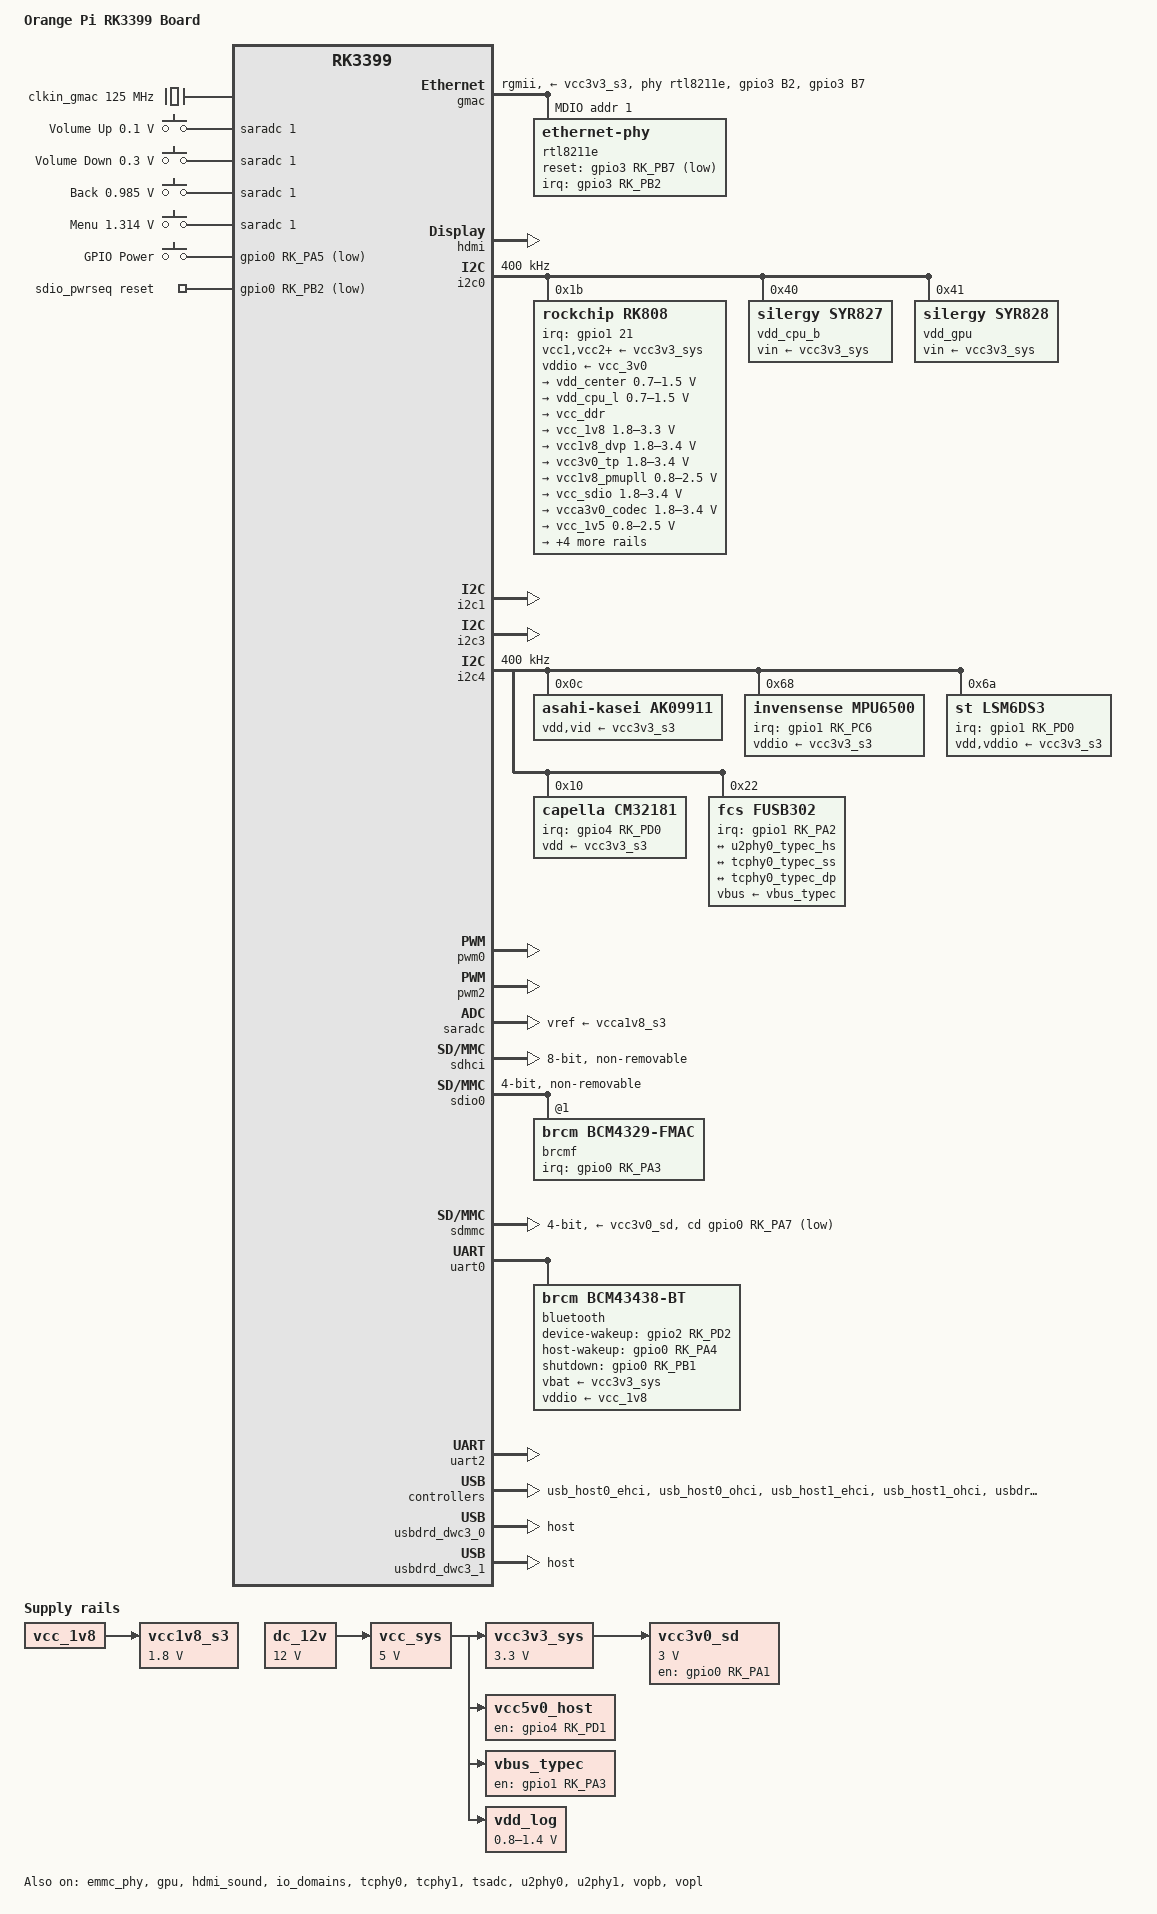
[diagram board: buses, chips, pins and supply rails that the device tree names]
// SPDX-License-Identifier: (GPL-2.0+ OR MIT)
/*
 * Copyright (c) 2017 Fuzhou Rockchip Electronics Co., Ltd.
 */

/dts-v1/;

#include "dt-bindings/pwm/pwm.h"
#include "dt-bindings/input/input.h"
#include "dt-bindings/usb/pd.h"
#include "rk3399.dtsi"
#include "rk3399-opp.dtsi"

/ {
	model = "Orange Pi RK3399 Board";
	compatible = "rockchip,rk3399-orangepi", "rockchip,rk3399";

	aliases {
		mmc0 = &sdio0;
		mmc1 = &sdmmc;
		mmc2 = &sdhci;
	};

	chosen {
		stdout-path = "serial2:1500000n8";
	};

	clkin_gmac: external-gmac-clock {
		compatible = "fixed-clock";
		clock-frequency = <125000000>;
		clock-output-names = "clkin_gmac";
		#clock-cells = <0>;
	};

	adc-keys {
		compatible = "adc-keys";
		io-channels = <&saradc 1>;
		io-channel-names = "buttons";
		keyup-threshold-microvolt = <1800000>;
		poll-interval = <100>;

		button-up {
			label = "Volume Up";
			linux,code = <KEY_VOLUMEUP>;
			press-threshold-microvolt = <100000>;
		};

		button-down {
			label = "Volume Down";
			linux,code = <KEY_VOLUMEDOWN>;
			press-threshold-microvolt = <300000>;
		};

		back {
			label = "Back";
			linux,code = <KEY_BACK>;
			press-threshold-microvolt = <985000>;
		};

		menu {
			label = "Menu";
			linux,code = <KEY_MENU>;
			press-threshold-microvolt = <1314000>;
		};
	};

	dc_12v: dc-12v {
		compatible = "regulator-fixed";
		regulator-name = "dc_12v";
		regulator-always-on;
		regulator-boot-on;
		regulator-min-microvolt = <12000000>;
		regulator-max-microvolt = <12000000>;
	};

	keys: gpio-keys {
		compatible = "gpio-keys";
		autorepeat;

		power {
			debounce-interval = <100>;
			gpios = <&gpio0 RK_PA5 GPIO_ACTIVE_LOW>;
			label = "GPIO Power";
			linux,code = <KEY_POWER>;
			linux,input-type = <1>;
			pinctrl-names = "default";
			pinctrl-0 = <&pwr_btn>;
			wakeup-source;
		};
	};

	sdio_pwrseq: sdio-pwrseq {
		compatible = "mmc-pwrseq-simple";
		clocks = <&rk808 1>;
		clock-names = "ext_clock";
		pinctrl-names = "default";
		pinctrl-0 = <&wifi_reg_on_h>;
		reset-gpios = <&gpio0 RK_PB2 GPIO_ACTIVE_LOW>;
	};

	/* switched by pmic_sleep */
	vcc1v8_s3: vcca1v8_s3: vcc1v8-s3 {
		compatible = "regulator-fixed";
		regulator-name = "vcc1v8_s3";
		regulator-always-on;
		regulator-boot-on;
		regulator-min-microvolt = <1800000>;
		regulator-max-microvolt = <1800000>;
		vin-supply = <&vcc_1v8>;
	};

	vcc3v0_sd: vcc3v0-sd {
		compatible = "regulator-fixed";
		enable-active-high;
		gpio = <&gpio0 RK_PA1 GPIO_ACTIVE_HIGH>;
		pinctrl-names = "default";
		pinctrl-0 = <&sdmmc0_pwr_h>;
		regulator-boot-on;
		regulator-max-microvolt = <3000000>;
		regulator-min-microvolt = <3000000>;
		regulator-name = "vcc3v0_sd";
		vin-supply = <&vcc3v3_sys>;
	};

	vcc3v3_sys: vcc3v3-sys {
		compatible = "regulator-fixed";
		regulator-name = "vcc3v3_sys";
		regulator-always-on;
		regulator-boot-on;
		regulator-min-microvolt = <3300000>;
		regulator-max-microvolt = <3300000>;
		vin-supply = <&vcc_sys>;
	};

	vcc5v0_host: vcc5v0-host-regulator {
		compatible = "regulator-fixed";
		enable-active-high;
		gpio = <&gpio4 RK_PD1 GPIO_ACTIVE_HIGH>;
		pinctrl-names = "default";
		pinctrl-0 = <&vcc5v0_host_en>;
		regulator-name = "vcc5v0_host";
		regulator-always-on;
		vin-supply = <&vcc_sys>;
	};

	vbus_typec: vbus-typec-regulator {
		compatible = "regulator-fixed";
		enable-active-high;
		gpio = <&gpio1 RK_PA3 GPIO_ACTIVE_HIGH>;
		pinctrl-names = "default";
		pinctrl-0 = <&vcc5v0_typec_en>;
		regulator-name = "vbus_typec";
		vin-supply = <&vcc_sys>;
	};

	vcc_sys: vcc-sys {
		compatible = "regulator-fixed";
		regulator-name = "vcc_sys";
		regulator-always-on;
		regulator-boot-on;
		regulator-min-microvolt = <5000000>;
		regulator-max-microvolt = <5000000>;
		vin-supply = <&dc_12v>;
	};

	vdd_log: vdd-log {
		compatible = "pwm-regulator";
		pwms = <&pwm2 0 25000 1>;
		regulator-name = "vdd_log";
		regulator-always-on;
		regulator-boot-on;
		regulator-min-microvolt = <800000>;
		regulator-max-microvolt = <1400000>;
		vin-supply = <&vcc_sys>;
	};
};

&cpu_l0 {
	cpu-supply = <&vdd_cpu_l>;
};

&cpu_l1 {
	cpu-supply = <&vdd_cpu_l>;
};

&cpu_l2 {
	cpu-supply = <&vdd_cpu_l>;
};

&cpu_l3 {
	cpu-supply = <&vdd_cpu_l>;
};

&cpu_b0 {
	cpu-supply = <&vdd_cpu_b>;
};

&cpu_b1 {
	cpu-supply = <&vdd_cpu_b>;
};

&emmc_phy {
	status = "okay";
};

&gmac {
	assigned-clocks = <&cru SCLK_RMII_SRC>;
	assigned-clock-parents = <&clkin_gmac>;
	clock_in_out = "input";
	phy-supply = <&vcc3v3_s3>;
	phy-mode = "rgmii";
	phy-handle = <&rtl8211e>;
	pinctrl-names = "default";
	pinctrl-0 = <&rgmii_pins>, <&phy_intb>, <&phy_rstb>;
	tx_delay = <0x28>;
	rx_delay = <0x11>;
	status = "okay";

	mdio {
		compatible = "snps,dwmac-mdio";
		#address-cells = <1>;
		#size-cells = <0>;

		rtl8211e: ethernet-phy@1 {
			reg = <1>;
			interrupt-parent = <&gpio3>;
			interrupts = <RK_PB2 IRQ_TYPE_LEVEL_LOW>;
			reset-assert-us = <10000>;
			reset-deassert-us = <30000>;
			reset-gpios = <&gpio3 RK_PB7 GPIO_ACTIVE_LOW>;
		};
	};
};

&gpu {
	mali-supply = <&vdd_gpu>;
	status = "okay";
};

&hdmi {
	ddc-i2c-bus = <&i2c3>;
	status = "okay";
};

&hdmi_sound {
	status = "okay";
};

&i2c0 {
	clock-frequency = <400000>;
	i2c-scl-rising-time-ns = <168>;
	i2c-scl-falling-time-ns = <4>;
	status = "okay";

	rk808: pmic@1b {
		compatible = "rockchip,rk808";
		reg = <0x1b>;
		interrupt-parent = <&gpio1>;
		interrupts = <21 IRQ_TYPE_LEVEL_LOW>;
		#clock-cells = <1>;
		clock-output-names = "rtc_clko_soc", "rtc_clko_wifi";
		pinctrl-names = "default";
		pinctrl-0 = <&pmic_int_l>;
		rockchip,system-power-controller;
		wakeup-source;

		vcc1-supply = <&vcc3v3_sys>;
		vcc2-supply = <&vcc3v3_sys>;
		vcc3-supply = <&vcc3v3_sys>;
		vcc4-supply = <&vcc3v3_sys>;
		vcc6-supply = <&vcc3v3_sys>;
		vcc7-supply = <&vcc3v3_sys>;
		vcc8-supply = <&vcc3v3_sys>;
		vcc9-supply = <&vcc3v3_sys>;
		vcc10-supply = <&vcc3v3_sys>;
		vcc11-supply = <&vcc3v3_sys>;
		vcc12-supply = <&vcc3v3_sys>;
		vddio-supply = <&vcc_3v0>;

		regulators {
			vdd_center: DCDC_REG1 {
				regulator-name = "vdd_center";
				regulator-always-on;
				regulator-boot-on;
				regulator-min-microvolt = <700000>;
				regulator-max-microvolt = <1500000>;
				regulator-ramp-delay = <6001>;
				regulator-state-mem {
					regulator-off-in-suspend;
				};
			};

			vdd_cpu_l: DCDC_REG2 {
				regulator-name = "vdd_cpu_l";
				regulator-always-on;
				regulator-boot-on;
				regulator-min-microvolt = <700000>;
				regulator-max-microvolt = <1500000>;
				regulator-ramp-delay = <6001>;
				regulator-state-mem {
					regulator-off-in-suspend;
				};
			};

			vcc_ddr: DCDC_REG3 {
				regulator-name = "vcc_ddr";
				regulator-always-on;
				regulator-boot-on;
				regulator-state-mem {
					regulator-on-in-suspend;
				};
			};

			vcc_1v8: DCDC_REG4 {
				regulator-name = "vcc_1v8";
				regulator-always-on;
				regulator-boot-on;
				regulator-min-microvolt = <1800000>;
				regulator-max-microvolt = <3300000>;
				regulator-state-mem {
					regulator-on-in-suspend;
					regulator-suspend-microvolt = <1800000>;
				};
			};

			vcc1v8_dvp: LDO_REG1 {
				regulator-name = "vcc1v8_dvp";
				regulator-always-on;
				regulator-boot-on;
				regulator-min-microvolt = <1800000>;
				regulator-max-microvolt = <3400000>;
				regulator-state-mem {
					regulator-off-in-suspend;
				};
			};

			vcc3v0_tp: LDO_REG2 {
				regulator-name = "vcc3v0_tp";
				regulator-always-on;
				regulator-boot-on;
				regulator-min-microvolt = <1800000>;
				regulator-max-microvolt = <3400000>;
				regulator-state-mem {
					regulator-off-in-suspend;
				};
			};

			vcc1v8_pmupll: LDO_REG3 {
				regulator-name = "vcc1v8_pmupll";
				regulator-always-on;
				regulator-boot-on;
				regulator-min-microvolt = <800000>;
				regulator-max-microvolt = <2500000>;
				regulator-state-mem {
					regulator-on-in-suspend;
					regulator-suspend-microvolt = <1800000>;
				};
			};

			vcc_sdio: LDO_REG4 {
				regulator-name = "vcc_sdio";
				regulator-always-on;
				regulator-boot-on;
				regulator-min-microvolt = <1800000>;
				regulator-max-microvolt = <3400000>;
				regulator-state-mem {
					regulator-on-in-suspend;
					regulator-suspend-microvolt = <3000000>;
				};
			};

			vcca3v0_codec: LDO_REG5 {
				regulator-name = "vcca3v0_codec";
				regulator-always-on;
				regulator-boot-on;
				regulator-min-microvolt = <1800000>;
				regulator-max-microvolt = <3400000>;
				regulator-state-mem {
					regulator-off-in-suspend;
				};
			};

			vcc_1v5: LDO_REG6 {
				regulator-name = "vcc_1v5";
				regulator-always-on;
				regulator-boot-on;
				regulator-min-microvolt = <800000>;
				regulator-max-microvolt = <2500000>;
				regulator-state-mem {
					regulator-on-in-suspend;
					regulator-suspend-microvolt = <1500000>;
				};
			};

			vcca1v8_codec: LDO_REG7 {
				regulator-name = "vcca1v8_codec";
				regulator-always-on;
				regulator-boot-on;
				regulator-min-microvolt = <800000>;
				regulator-max-microvolt = <2500000>;
				regulator-state-mem {
					regulator-off-in-suspend;
				};
			};

			vcc_3v0: LDO_REG8 {
				regulator-name = "vcc_3v0";
				regulator-always-on;
				regulator-boot-on;
				regulator-min-microvolt = <1800000>;
				regulator-max-microvolt = <3400000>;
				regulator-state-mem {
					regulator-on-in-suspend;
					regulator-suspend-microvolt = <3000000>;
				};
			};

			vcc3v3_s3: SWITCH_REG1 {
				regulator-name = "vcc3v3_s3";
				regulator-always-on;
				regulator-boot-on;
				regulator-state-mem {
					regulator-off-in-suspend;
				};
			};

			vcc3v3_s0: SWITCH_REG2 {
				regulator-name = "vcc3v3_s0";
				regulator-always-on;
				regulator-boot-on;
				regulator-state-mem {
					regulator-off-in-suspend;
				};
			};
		};
	};

	vdd_cpu_b: regulator@40 {
		compatible = "silergy,syr827";
		reg = <0x40>;
		fcs,suspend-voltage-selector = <1>;
		pinctrl-names = "default";
		pinctrl-0 = <&cpu_b_sleep>;
		regulator-name = "vdd_cpu_b";
		regulator-min-microvolt = <712500>;
		regulator-max-microvolt = <1500000>;
		regulator-ramp-delay = <1000>;
		regulator-always-on;
		regulator-boot-on;
		vin-supply = <&vcc3v3_sys>;

		regulator-state-mem {
			regulator-off-in-suspend;
		};
	};

	vdd_gpu: regulator@41 {
		compatible = "silergy,syr828";
		reg = <0x41>;
		fcs,suspend-voltage-selector = <1>;
		pinctrl-names = "default";
		pinctrl-0 = <&gpu_sleep>;
		regulator-name = "vdd_gpu";
		regulator-min-microvolt = <712500>;
		regulator-max-microvolt = <1500000>;
		regulator-ramp-delay = <1000>;
		regulator-always-on;
		regulator-boot-on;
		vin-supply = <&vcc3v3_sys>;

		regulator-state-mem {
			regulator-off-in-suspend;
		};
	};
};

&i2c1 {
	i2c-scl-rising-time-ns = <450>;
	i2c-scl-falling-time-ns = <15>;
	status = "okay";
};

&i2c3 {
	i2c-scl-rising-time-ns = <450>;
	i2c-scl-falling-time-ns = <15>;
	status = "okay";
};

&i2c4 {
	clock-frequency = <400000>;
	i2c-scl-rising-time-ns = <450>;
	i2c-scl-falling-time-ns = <15>;
	status = "okay";

	ak09911@c {
		compatible = "asahi-kasei,ak09911";
		reg = <0x0c>;
		vdd-supply = <&vcc3v3_s3>;
		vid-supply = <&vcc3v3_s3>;
	};

	mpu6500@68 {
		compatible = "invensense,mpu6500";
		reg = <0x68>;
		interrupt-parent = <&gpio1>;
		interrupts = <RK_PC6 IRQ_TYPE_EDGE_RISING>;
		pinctrl-names = "default";
		pinctrl-0 = <&gsensor_int_l>;
		vddio-supply = <&vcc3v3_s3>;
	};

	lsm6ds3@6a {
		compatible = "st,lsm6ds3";
		reg = <0x6a>;
		interrupt-parent = <&gpio1>;
		interrupts = <RK_PD0 IRQ_TYPE_EDGE_RISING>;
		pinctrl-names = "default";
		pinctrl-0 = <&gyr_int_l>;
		vdd-supply = <&vcc3v3_s3>;
		vddio-supply = <&vcc3v3_s3>;
	};

	cm32181@10 {
		compatible = "capella,cm32181";
		reg = <0x10>;
		interrupt-parent = <&gpio4>;
		interrupts = <RK_PD0 IRQ_TYPE_EDGE_RISING>;
		pinctrl-names = "default";
		pinctrl-0 = <&light_int_l>;
		vdd-supply = <&vcc3v3_s3>;
	};

	fusb302@22 {
		compatible = "fcs,fusb302";
		reg = <0x22>;
		interrupt-parent = <&gpio1>;
		interrupts = <RK_PA2 IRQ_TYPE_LEVEL_LOW>;
		pinctrl-names = "default";
		pinctrl-0 = <&chg_cc_int_l>;
		vbus-supply = <&vbus_typec>;

		typec_con: connector {
			compatible = "usb-c-connector";
			data-role = "host";
			label = "USB-C";
			op-sink-microwatt = <1000000>;
			power-role = "dual";
			sink-pdos =
				<PDO_FIXED(5000, 2500, PDO_FIXED_USB_COMM)>;
			source-pdos =
				<PDO_FIXED(5000, 1400, PDO_FIXED_USB_COMM)>;
			try-power-role = "sink";

			ports {
				#address-cells = <1>;
				#size-cells = <0>;

				port@0 {
					reg = <0>;
					typec_hs: endpoint {
						remote-endpoint = <&u2phy0_typec_hs>;
					};
				};
				port@1 {
					reg = <1>;
					typec_ss: endpoint {
						remote-endpoint = <&tcphy0_typec_ss>;
					};
				};
				port@2 {
					reg = <2>;
					typec_dp: endpoint {
						remote-endpoint = <&tcphy0_typec_dp>;
					};
				};
			};
		};
	};
};

&io_domains {
	status = "okay";
	bt656-supply = <&vcc_3v0>;
	audio-supply = <&vcca1v8_codec>;
	sdmmc-supply = <&vcc_sdio>;
	gpio1830-supply = <&vcc_3v0>;
};

&pmu_io_domains {
	status = "okay";
	pmu1830-supply = <&vcc_3v0>;
};

&pinctrl {
	buttons {
		pwr_btn: pwr-btn {
			rockchip,pins = <0 RK_PA5 RK_FUNC_GPIO &pcfg_pull_up>;
		};
	};

	gmac {
		phy_intb: phy-intb {
			rockchip,pins = <3 RK_PB2 RK_FUNC_GPIO &pcfg_pull_up>;
		};

		phy_rstb: phy-rstb {
			rockchip,pins = <3 RK_PB7 RK_FUNC_GPIO &pcfg_pull_none>;
		};
	};

	pmic {
		cpu_b_sleep: cpu-b-sleep {
			rockchip,pins = <1 RK_PC1 RK_FUNC_GPIO &pcfg_pull_down>;
		};

		gpu_sleep: gpu-sleep {
			rockchip,pins = <1 RK_PB6 RK_FUNC_GPIO &pcfg_pull_down>;
		};

		pmic_int_l: pmic-int-l {
			rockchip,pins =
				<1 RK_PC5 RK_FUNC_GPIO &pcfg_pull_up>;
		};
	};

	sd {
		sdmmc0_pwr_h: sdmmc0-pwr-h {
			rockchip,pins =
				<0 RK_PA1 RK_FUNC_GPIO &pcfg_pull_none>;
		};
	};

	usb2 {
		vcc5v0_host_en: vcc5v0-host-en {
			rockchip,pins =
				<4 RK_PD1 RK_FUNC_GPIO &pcfg_pull_none>;
		};

		vcc5v0_typec_en: vcc5v0-typec-en {
			rockchip,pins =
				<1 RK_PA3 RK_FUNC_GPIO &pcfg_pull_none>;
		};
	};

	sdio-pwrseq {
		wifi_reg_on_h: wifi-reg-on-h {
			rockchip,pins = <0 RK_PB2 RK_FUNC_GPIO &pcfg_pull_none>;
		};
	};

	wifi {
		wifi_host_wake_l: wifi-host-wake-l {
			rockchip,pins = <0 RK_PA3 RK_FUNC_GPIO &pcfg_pull_none>;
		};
	};

	bluetooth {
		bt_reg_on_h: bt-enable-h {
			rockchip,pins = <0 RK_PB1 RK_FUNC_GPIO &pcfg_pull_none>;
		};

		bt_host_wake_l: bt-host-wake-l {
			rockchip,pins = <0 RK_PA4 RK_FUNC_GPIO &pcfg_pull_none>;
		};

		bt_wake_l: bt-wake-l {
			rockchip,pins = <2 RK_PD2 RK_FUNC_GPIO &pcfg_pull_none>;
		};
	};

	mpu6500 {
		gsensor_int_l: gsensor-int-l {
			rockchip,pins = <1 RK_PC6 RK_FUNC_GPIO &pcfg_pull_none>;
		};
	};

	lsm6ds3 {
		gyr_int_l: gyr-int-l {
			rockchip,pins = <1 RK_PD0 RK_FUNC_GPIO &pcfg_pull_none>;
		};
	};

	cm32181 {
		light_int_l: light-int-l {
			rockchip,pins = <4 RK_PD0 RK_FUNC_GPIO &pcfg_pull_none>;
		};
	};

	fusb302 {
		chg_cc_int_l: chg-cc-int-l {
			rockchip,pins = <1 RK_PA2 RK_FUNC_GPIO &pcfg_pull_up>;
		};
	};
};

&pwm0 {
	status = "okay";
};

&pwm2 {
	status = "okay";
};

&saradc {
	vref-supply = <&vcca1v8_s3>;
	status = "okay";
};

&sdhci {
	bus-width = <8>;
	mmc-hs400-1_8v;
	mmc-hs400-enhanced-strobe;
	non-removable;
	status = "okay";
};

&sdio0 {
	bus-width = <4>;
	cap-sd-highspeed;
	cap-sdio-irq;
	clock-frequency = <50000000>;
	disable-wp;
	keep-power-in-suspend;
	max-frequency = <50000000>;
	mmc-pwrseq = <&sdio_pwrseq>;
	non-removable;
	pinctrl-names = "default";
	pinctrl-0 = <&sdio0_bus4 &sdio0_cmd &sdio0_clk>;
	sd-uhs-sdr104;
	#address-cells = <1>;
	#size-cells = <0>;
	status = "okay";

	brcmf: wifi@1 {
		reg = <1>;
		compatible = "brcm,bcm4329-fmac";
		interrupt-parent = <&gpio0>;
		interrupts = <RK_PA3 GPIO_ACTIVE_HIGH>;
		interrupt-names = "host-wake";
		pinctrl-names = "default";
		pinctrl-0 = <&wifi_host_wake_l>;
	};
};

&sdmmc {
	bus-width = <4>;
	cap-mmc-highspeed;
	cap-sd-highspeed;
	cd-gpios = <&gpio0 RK_PA7 GPIO_ACTIVE_LOW>;
	clock-frequency = <150000000>;
	disable-wp;
	max-frequency = <150000000>;
	pinctrl-names = "default";
	pinctrl-0 = <&sdmmc_clk &sdmmc_cmd &sdmmc_cd &sdmmc_bus4>;
	vmmc-supply = <&vcc3v0_sd>;
	vqmmc-supply = <&vcc_sdio>;
	status = "okay";
};

&tcphy0 {
	status = "okay";
};

&tcphy0_dp {
	port {
		tcphy0_typec_dp: endpoint {
			remote-endpoint = <&typec_dp>;
		};
	};
};

&tcphy0_usb3 {
	port {
		tcphy0_typec_ss: endpoint {
			remote-endpoint = <&typec_ss>;
		};
	};
};

&tcphy1 {
	status = "okay";
};

&tsadc {
	rockchip,hw-tshut-mode = <1>;
	rockchip,hw-tshut-polarity = <1>;
	status = "okay";
};

&u2phy0 {
	status = "okay";

	u2phy0_otg: otg-port {
		phy-supply = <&vbus_typec>;
		status = "okay";
	};

	u2phy0_host: host-port {
		phy-supply = <&vcc5v0_host>;
		status = "okay";
	};

	port {
		u2phy0_typec_hs: endpoint {
			remote-endpoint = <&typec_hs>;
		};
	};
};

&u2phy1 {
	status = "okay";

	u2phy1_otg: otg-port {
		status = "okay";
	};

	u2phy1_host: host-port {
		phy-supply = <&vcc5v0_host>;
		status = "okay";
	};
};

&uart0 {
	pinctrl-names = "default";
	pinctrl-0 = <&uart0_xfer &uart0_cts &uart0_rts>;
	status = "okay";

	bluetooth {
		compatible = "brcm,bcm43438-bt";
		clocks = <&rk808 1>;
		clock-names = "lpo";
		device-wakeup-gpios = <&gpio2 RK_PD2 GPIO_ACTIVE_HIGH>;
		host-wakeup-gpios = <&gpio0 RK_PA4 GPIO_ACTIVE_HIGH>;
		shutdown-gpios = <&gpio0 RK_PB1 GPIO_ACTIVE_HIGH>;
		pinctrl-names = "default";
		pinctrl-0 = <&bt_host_wake_l &bt_wake_l &bt_reg_on_h>;
		vbat-supply = <&vcc3v3_sys>;
		vddio-supply = <&vcc_1v8>;
	};
};

&uart2 {
	status = "okay";
};

&usb_host0_ehci {
	status = "okay";
};

&usb_host0_ohci {
	status = "okay";
};

&usb_host1_ehci {
	status = "okay";
};

&usb_host1_ohci {
	status = "okay";
};

&usbdrd3_0 {
	status = "okay";
};

&usbdrd_dwc3_0 {
	status = "okay";
	dr_mode = "host";
};

&usbdrd3_1 {
	status = "okay";
};

&usbdrd_dwc3_1 {
	status = "okay";
	dr_mode = "host";
};

&vopb {
	status = "okay";
};

&vopb_mmu {
	status = "okay";
};

&vopl {
	status = "okay";
};

&vopl_mmu {
	status = "okay";
};
